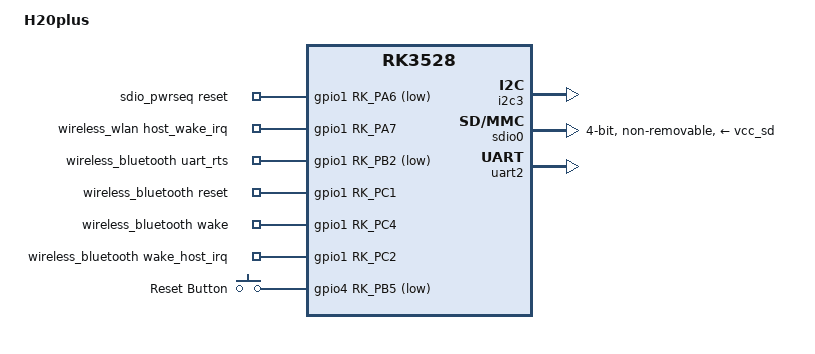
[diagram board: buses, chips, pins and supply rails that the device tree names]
// SPDX-License-Identifier: (GPL-2.0+ OR MIT)
/*
 * Copyright (c) 2022 Rockchip Electronics Co., Ltd.
 * Copyright (c) 2025 flippy <flippy@sina.com>
 */

#include "rk3528-hlink.dtsi"

/ {
	model = "H20plus";
	compatible = "hlink,h20plus", "hlink,h28k", "rockchip,rk3528";

	aliases {
		ethernet1 = &pcie_eth;
		mmc2 = &sdio0;
	};

	sdio_pwrseq: sdio-pwrseq {
		compatible = "mmc-pwrseq-simple";
		pinctrl-names = "default";
		pinctrl-0 = <&wifi_enable_h>, <&clkm1_32k_out>;
		post-power-on-delay-ms = <200>;
		reset-gpios = <&gpio1 RK_PA6 GPIO_ACTIVE_LOW>;
		status = "okay";
	};

	wireless_wlan: wireless-wlan {
		compatible = "wlan-platdata";
		wifi_chip_type = "aic8800";
		pinctrl-names = "default";
		pinctrl-0 = <&wifi_host_wake_irq>;
		WIFI,host_wake_irq = <&gpio1 RK_PA7 GPIO_ACTIVE_HIGH>;
		status = "okay";
	};

	wireless_bluetooth: wireless-bluetooth {
		compatible = "bluetooth-platdata";
		bt_port = "/dev/ttyS2";
		uart_rts_gpios = <&gpio1 RK_PB2 GPIO_ACTIVE_LOW>;
		pinctrl-names = "default", "rts_gpio";
		pinctrl-0 = <&uart2m1_rtsn>, <&bt_reset_gpio>,
			    <&bt_host_wake_irq>, <&bt_wake_gpio>;
		pinctrl-1 = <&uart2m1_gpios>;
		BT,reset_gpio = <&gpio1 RK_PC1 GPIO_ACTIVE_HIGH>;
		BT,wake_gpio = <&gpio1 RK_PC4 GPIO_ACTIVE_HIGH>;
		BT,wake_host_irq = <&gpio1 RK_PC2 GPIO_ACTIVE_HIGH>;
		status = "okay";
	};

	gpio_keys: gpio-keys {
		compatible = "gpio-keys";
		status = "okay";

		key-factory {
			debounce-interval = <100>;
			gpios = <&gpio4 RK_PB5 GPIO_ACTIVE_LOW>;
			label = "Reset Button";
			linux,code = <KEY_RESTART>;
		};
	};
};

&i2c3 {
	status = "okay";
};

&pcie {
	status = "disabled";
	reset-gpios = <&gpio4 RK_PA3 GPIO_ACTIVE_HIGH>;
	vpcie3v3-supply = <&vcc_3v3_s3>;

	pinctrl-names = "default";
	pinctrl-0 = <&pcie_rtl8111_isolate>;

	pcie@0,0 {
		reg = <0x000000 0 0 0 0>;
		#address-cells = <3>;
		#size-cells = <2>;

		bus-range = <0x00 0x0f>;
		device_type = "pci";
		ranges;

		pcie_eth: pcie-eth@0,0 {
			compatible = "pci10ec,8168";
			reg = <0x000000 0 0 0 0>;
			realtek,led-data = <0x0870>;
		};
	};
};

&sdio0 {
	no-sd;
	no-mmc;
	supports-sdio;
	bus-width = <4>;
	disable-wp;
	cap-sd-highspeed;
	cap-sdio-irq;
	keep-power-in-suspend;
	non-removable;
	max-frequency = <50000000>;
	mmc-pwrseq = <&sdio_pwrseq>;
	pinctrl-names = "default";
	pinctrl-0 = <&sdio0_bus4>, <&sdio0_cmd>, <&sdio0_clk>;
	vmmc-supply = <&vcc_sd>;
	vqmmc-supply = <&vccio_sd>;
	status = "okay";
};

&uart2 {
	pinctrl-names = "default";
	pinctrl-0 = <&uart2m1_xfer>, <&uart2m1_ctsn>, <&uart2m1_rtsn>;
	uart-has-rtscts;
	status = "okay";
};

&pinctrl {
	pcie {
		pcie_rtl8111_isolate: pcie-rtl8111-isolate {
			rockchip,pins = <4 RK_PA6 RK_FUNC_GPIO &pcfg_pull_up>;
		};
	};

	sdio-pwrseq {
		wifi_enable_h: wifi-enable-h {
			rockchip,pins = <1 RK_PA6 RK_FUNC_GPIO &pcfg_pull_none>;
		};
	};

	wireless-wlan {
		wifi_host_wake_irq: wifi-host-wake-irq {
			rockchip,pins = <1 RK_PA7 RK_FUNC_GPIO &pcfg_pull_down>;
		};
	};

	wireless-bluetooth {
		uart2m1_gpios: uart2m1-gpios {
			rockchip,pins = <1 RK_PB2 RK_FUNC_GPIO &pcfg_pull_none>;
		};

		bt_reset_gpio: bt-reset-gpio {
			rockchip,pins = <1 RK_PC1 RK_FUNC_GPIO &pcfg_pull_down>;
		};

		bt_host_wake_irq: bt-host-wake-irq {
			rockchip,pins = <1 RK_PC2 RK_FUNC_GPIO &pcfg_pull_none>;
		};

		bt_wake_gpio: bt-wake-gpio {
			rockchip,pins = <1 RK_PC4 RK_FUNC_GPIO &pcfg_pull_none>;
		};
	};
};
